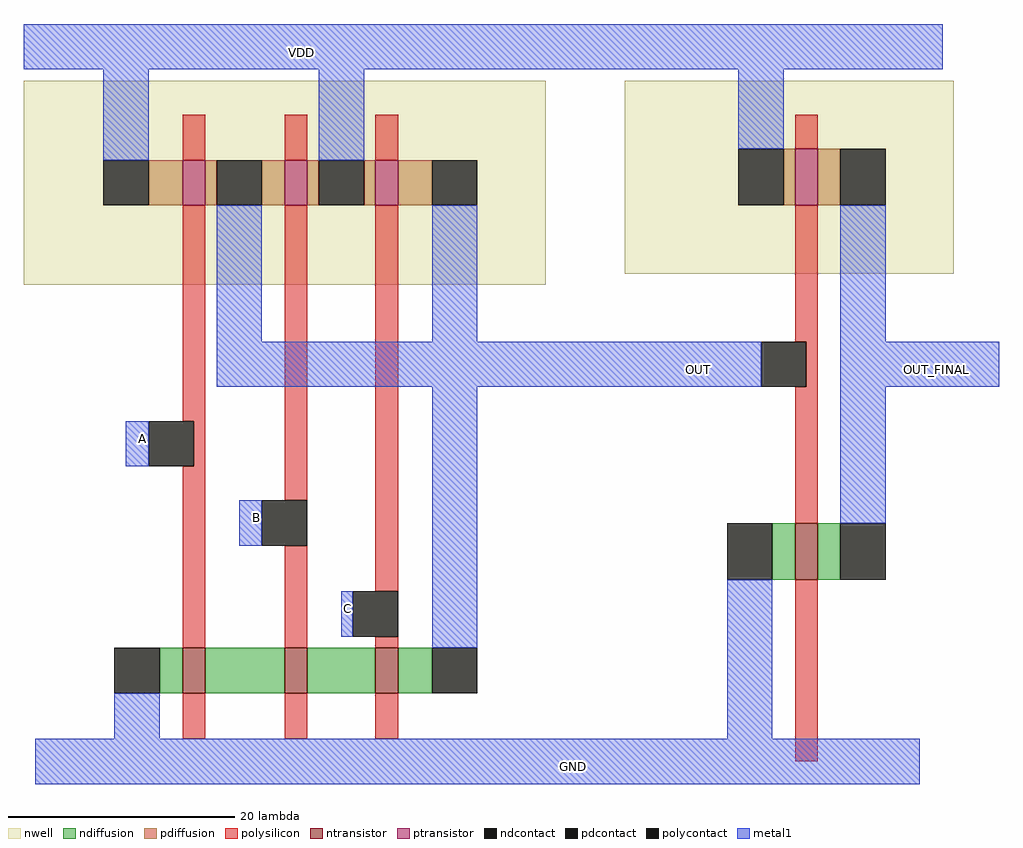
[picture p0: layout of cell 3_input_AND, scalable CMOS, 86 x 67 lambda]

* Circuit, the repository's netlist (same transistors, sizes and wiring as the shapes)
* SPICE3 file created from 3_input_AND.ext - technology: scmos
.include TSMC_180nm.txt


.param SUPPLY = 1.8


.global GND

Vdd VDD GND 'SUPPLY'

V_in_A A GND PULSE(0 1.8 0ns 100ps 100ps 20ns 40ns)
V_in_B B GND PULSE(0 1.8 0ns 100ps 100ps 40ns 80ns)
V_in_C C GND PULSE(0 1.8 0ns 100ps 100ps 40ns 100ns)
.option scale=0.09u

M1000 OUT C a_6_n22# Gnd CMOSN w=4 l=2
+  ad=28 pd=22 as=24 ps=20
M1001 a_6_n22# B a_n3_n22# Gnd CMOSN w=4 l=2
+  ad=0 pd=0 as=28 ps=22
M1002 OUT C VDD VDD CMOSP w=4 l=2
+  ad=56 pd=44 as=77 ps=62
M1003 VDD B OUT VDD CMOSP w=4 l=2
+  ad=0 pd=0 as=0 ps=0
M1004 OUT A VDD VDD CMOSP w=4 l=2
+  ad=0 pd=0 as=0 ps=0
M1005 OUT_FINAL OUT VDD VDD CMOSP w=5 l=2
+  ad=30 pd=22 as=0 ps=0
M1006 a_n3_n22# A GND Gnd CMOSN w=4 l=2
+  ad=0 pd=0 as=54 ps=42
M1007 OUT_FINAL OUT GND Gnd CMOSN w=5 l=2
+  ad=30 pd=22 as=0 ps=0

.tran 1n 500n

.control
run
set color0 = rgb:f/f/e
set color1 = white
plot v(A) v(B)+2 v(C)+4 v(OUT_FINAL)+6
* plot v(OUT_FINAL)/
* hardcopy image.ps v(node_a) v(node_b)+2 v(OUT)+4
.end
.endc

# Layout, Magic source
magic
tech scmos
<< nwell >>
rect -19 2 27 20
rect 34 3 63 20
<< ntransistor >>
rect 49 -24 51 -19
rect -5 -34 -3 -30
rect 4 -34 6 -30
rect 12 -34 14 -30
<< ptransistor >>
rect -5 9 -3 13
rect 4 9 6 13
rect 12 9 14 13
rect 49 9 51 14
<< ndiffusion >>
rect 47 -24 49 -19
rect 51 -24 53 -19
rect -7 -34 -5 -30
rect -3 -34 4 -30
rect 6 -34 12 -30
rect 14 -34 17 -30
<< pdiffusion >>
rect -8 9 -5 13
rect -3 9 -2 13
rect 2 9 4 13
rect 6 9 7 13
rect 11 9 12 13
rect 14 9 17 13
rect 48 9 49 14
rect 51 9 53 14
<< ndcontact >>
rect 43 -24 47 -19
rect 53 -24 57 -19
rect -11 -34 -7 -30
rect 17 -34 21 -30
<< pdcontact >>
rect -12 9 -8 13
rect -2 9 2 13
rect 7 9 11 13
rect 17 9 21 13
rect 44 9 48 14
rect 53 9 57 14
<< polysilicon >>
rect -5 13 -3 17
rect 4 13 6 17
rect 12 13 14 17
rect 49 14 51 17
rect -5 -10 -3 9
rect -4 -14 -3 -10
rect -5 -30 -3 -14
rect 4 -17 6 9
rect 4 -30 6 -21
rect 12 -25 14 9
rect 49 -3 51 9
rect 50 -7 51 -3
rect 49 -19 51 -7
rect 12 -30 14 -29
rect -5 -38 -3 -34
rect 4 -38 6 -34
rect 12 -38 14 -34
rect 49 -40 51 -24
<< polycontact >>
rect -8 -14 -4 -10
rect 2 -21 6 -17
rect 46 -7 50 -3
rect 10 -29 14 -25
<< metal1 >>
rect -19 21 62 25
rect -12 13 -8 21
rect 7 13 11 21
rect 44 14 48 21
rect -2 -3 2 9
rect 17 -3 21 9
rect 53 -3 57 9
rect -2 -7 46 -3
rect 53 -7 67 -3
rect -10 -14 -8 -10
rect 0 -21 2 -17
rect 9 -29 10 -25
rect 17 -30 21 -7
rect 53 -19 57 -7
rect -11 -38 -7 -34
rect 43 -38 47 -24
rect -18 -42 60 -38
<< labels >>
rlabel metal1 5 22 6 23 5 VDD
rlabel metal1 -9 -12 -8 -11 1 A
rlabel metal1 40 -6 41 -5 1 OUT
rlabel metal1 61 -6 62 -5 1 OUT_FINAL
rlabel metal1 29 -41 30 -40 1 GND
rlabel metal1 1 -19 2 -18 1 B
rlabel metal1 9 -27 10 -26 1 C
<< end >>
